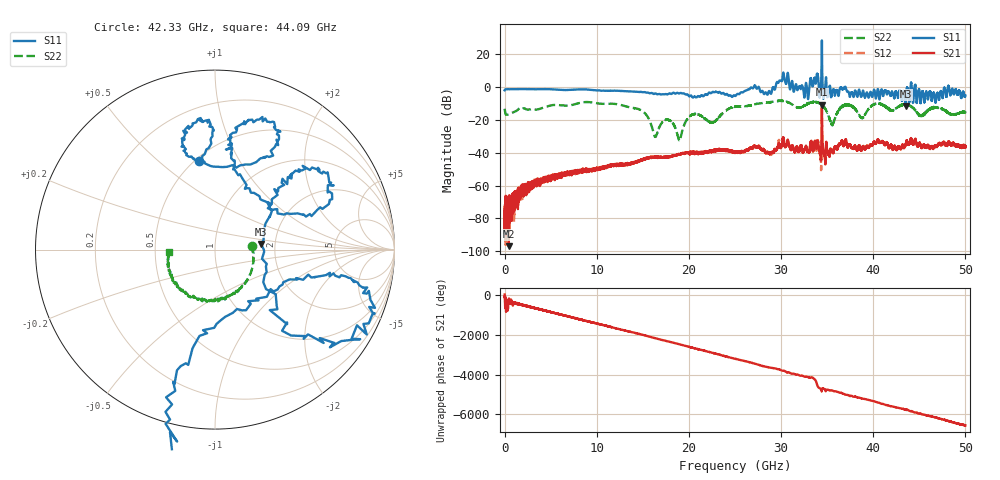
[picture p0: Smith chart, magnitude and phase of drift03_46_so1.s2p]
!Created with skrf (http://scikit-rf.org).
# Hz S RI R 50.0
!freq ReS11 ImS11 ReS21 ImS21 ReS12 ImS12 ReS22 ImS22
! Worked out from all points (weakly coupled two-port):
!   10000 points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, 5.3 MHz to 50 GHz, reference 50 ohm
!   highest |S21| = -10.91 dB at 34.43 GHz (marker M1); lowest = -96.9 dB at 460.3 MHz (marker M2)
!   lowest |S11| = -11.8 dB at 43.52 GHz (marker M3), VSWR 1.70, Z = 84.2 + j5.76 ohm
!   |S11| at or under -10 dB: 43.48565 GHz to 43.55204 GHz (66.39 MHz wide, 0.153 % of centre)
!   |S22| runs from -32.6 to -8.4 dB; largest |S21 - S12| = 0.091
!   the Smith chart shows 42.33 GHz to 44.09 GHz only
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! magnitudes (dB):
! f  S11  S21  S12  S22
! 5.3 MHz  -2.1  -77.9  -78.4  -13.3
! 460.3 MHz  -1.4  -96.9  -72.9  -16.6
! 3.255 GHz  -1.4  -58.5  -58.3  -13.7
! 8.34 GHz  -1.5  -51.2  -50.9  -9.5
! 14.56 GHz  -3.1  -45.1  -45.2  -13.6
! 16.67 GHz  -4.4  -42.9  -42.5  -26.2
! 17.8 GHz  -4.2  -42.7  -42.7  -20.1
! 18.99 GHz  -3.9  -40.9  -41.0  -32.6
! 20.28 GHz  -5.5  -39.6  -39.9  -17.1
! 22.57 GHz  -3.1  -39.3  -39.0  -21.7
! 25.01 GHz  -5.5  -40.3  -39.7  -12.2
! 28.72 GHz  -2.5  -40.4  -40.3  -9.4
! 30.14 GHz  4.4  -33.8  -34.1  -8.5
! 32.74 GHz  2.0  -36.7  -36.7  -10.5
! 33.34 GHz  2.6  -35.1  -35.4  -9.3
! 34.43 GHz  28.3  -10.9  -13.1  -10.9
! 35.54 GHz  -3.1  -38.8  -39.0  -23.3
! 36.95 GHz  0.2  -33.1  -33.3  -11.0
! 38.78 GHz  -4.9  -38.2  -37.7  -19.0
! 41.67 GHz  -3.0  -36.7  -36.7  -13.3
! 43.52 GHz  -11.8  -35.2  -35.3  -10.8
! 50 GHz  -5.2  -36.9  -36.2  -15.5
